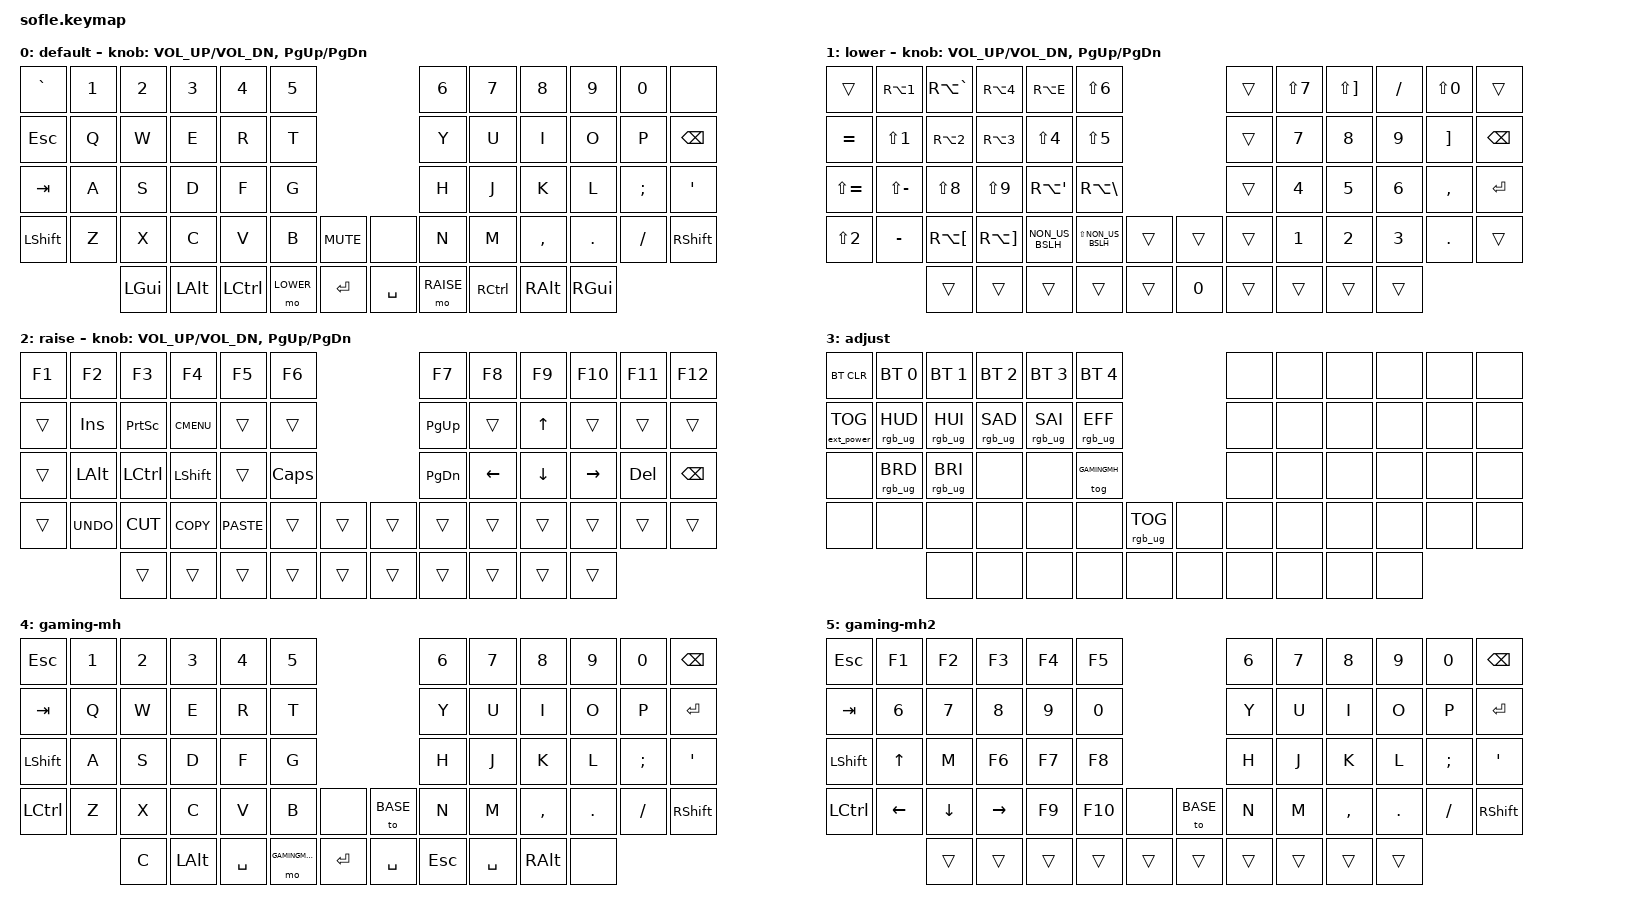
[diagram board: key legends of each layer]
/*
 * Copyright (c) 2020 The ZMK Contributors
 *
 * SPDX-License-Identifier: MIT
 */

#include <dt-bindings/led/led.h>
#include <behaviors.dtsi>
#include <dt-bindings/zmk/keys.h>
#include <dt-bindings/zmk/bt.h>
#include <dt-bindings/zmk/rgb.h>
#include <dt-bindings/zmk/ext_power.h>

#define BASE 0
#define LOWER 1
#define RAISE 2
#define ADJUST 3
#define GAMINGMH 4
#define GAMINGMHW 5

/ {
   // Activate ADJUST layer by pressing raise and lower
    conditional_layers {
        compatible = "zmk,conditional-layers";
        adjust_layer {
            if-layers = <LOWER RAISE>;
            then-layer = <ADJUST>;
        };
    };

    keymap {
        compatible = "zmk,keymap";

        default_layer {
            display-name = "default";
// ------------------------------------------------------------------------------------------------------------
// |   `   |  1  |  2  |  3   |  4   |  5   |                   |  6   |  7    |  8    |  9   |   0   |       |
// |  ESC  |  Q  |  W  |  E   |  R   |  T   |                   |  Y   |  U    |  I    |  O   |   P   | BKSPC |
// |  TAB  |  A  |  S  |  D   |  F   |  G   |                   |  H   |  J    |  K    |  L   |   ;   |   '   |
// | SHIFT |  Z  |  X  |  C   |  V   |  B   |  MUTE  |  |       |  N   |  M    |  ,    |  .   |   /   | SHIFT |
//               | GUI | ALT  | CTRL | LOWER|  ENTER |  | SPACE | RAISE| CTRL  | ALT   | GUI  |
            bindings = <
&kp GRAVE &kp N1 &kp N2   &kp N3   &kp N4    &kp N5                           &kp N6 &kp N7    &kp N8    &kp N9   &kp N0   &none
&kp ESC   &kp Q  &kp W    &kp E    &kp R     &kp T                            &kp Y  &kp U     &kp I     &kp O    &kp P    &kp BSPC
&kp TAB   &kp A  &kp S    &kp D    &kp F     &kp G                            &kp H  &kp J     &kp K     &kp L    &kp SEMI &kp SQT
&kp LSHFT &kp Z  &kp X    &kp C    &kp V     &kp B      &kp C_MUTE &none      &kp N  &kp M     &kp COMMA &kp DOT  &kp FSLH &kp RSHFT
                 &kp LGUI &kp LALT &kp LCTRL &mo LOWER  &kp RET    &kp SPACE  &mo RAISE  &kp RCTRL &kp RALT  &kp RGUI
            >;

            sensor-bindings = <&inc_dec_kp C_VOL_UP C_VOL_DN &inc_dec_kp PG_UP PG_DN>;
        };

        lower_layer {
            display-name = "lower";
// Pensada para el teclado ESPAÑOL del PC. Izquierda: símbolos. Derecha: teclado numérico (0 en el pulgar).
// ------------------------------------------------------------------------------------------------------------
// |   º   |  |  |  \  |  ~   |  €   |  &   |                   |      |  /    |  *    |  -   |   =   |       |
// |   ¡   |  !  |  @  |  #   |  $   |  %   |                   |      |  7    |  8    |  9   |   +   |  ⌫    |
// |   ¿   |  ?  |  (  |  )   |  {   |  }   |                   |      |  4    |  5    |  6   |   ,   | ENTER |
// |   "   |  '  |  [  |  ]   |  <   |  >   |        |  |       |      |  1    |  2    |  3   |   .   |       |
//               |     |      |      |      |        |  |   0   |      |       |       |      |
            bindings = <
&trans       &kp RA(N1)    &kp RA(GRAVE) &kp RA(N4)   &kp RA(E)       &kp LS(N6)                                &trans &kp LS(N7) &kp LS(RBKT) &kp FSLH &kp LS(N0) &trans
&kp EQUAL    &kp LS(N1)    &kp RA(N2)    &kp RA(N3)   &kp LS(N4)      &kp LS(N5)                                &trans &kp N7     &kp N8       &kp N9   &kp RBKT   &kp BSPC
&kp LS(EQUAL) &kp LS(MINUS) &kp LS(N8)   &kp LS(N9)   &kp RA(SQT)     &kp RA(BSLH)                              &trans &kp N4     &kp N5       &kp N6   &kp COMMA  &kp RET
&kp LS(N2)   &kp MINUS     &kp RA(LBKT)  &kp RA(RBKT) &kp NON_US_BSLH &kp LS(NON_US_BSLH) &trans    &trans       &trans &kp N1     &kp N2       &kp N3   &kp DOT    &trans
                           &trans        &trans       &trans          &trans              &trans    &kp N0       &trans &trans     &trans       &trans
            >;

            sensor-bindings = <&inc_dec_kp C_VOL_UP C_VOL_DN &inc_dec_kp PG_UP PG_DN>;
        };

        raise_layer {
            display-name = "raise";
// ------------------------------------------------------------------------------------------------------------
// |  F1   |  F2  |  F3  |  F4   |  F5   |  F6  |                |  F7  |  F8  |  F9   | F10  |  F11  |  F12  |
// |       | INS  | PSCR | GUI   |       |      |                | PGUP |      |   ^   |      |       |       |
// |       | ALT  | CTRL | SHIFT |       | CAPS |                | PGDN |   <- |   v   |  ->  |  DEL  | BKSPC |
// |       | UNDO | CUT  | COPY  | PASTE |      |      |  |      |      |      |       |      |       |       |
//                |      |       |       |      |      |  |      |      |      |       |      |
            bindings = <
&kp F1     &kp F2       &kp F3       &kp F4       &kp F5       &kp F6                        &kp F7    &kp F8    &kp F9   &kp F10   &kp F11 &kp F12
&trans     &kp INS      &kp PSCRN    &kp K_CMENU  &trans       &trans                        &kp PG_UP &trans    &kp UP   &trans    &trans  &trans
&trans     &kp LALT     &kp LCTRL    &kp LSHFT    &trans       &kp CLCK                      &kp PG_DN &kp LEFT  &kp DOWN &kp RIGHT &kp DEL &kp BSPC
&trans     &kp K_UNDO   &kp K_CUT    &kp K_COPY   &kp K_PASTE  &trans        &trans  &trans  &trans    &trans    &trans   &trans    &trans  &trans
                        &trans       &trans       &trans       &trans        &trans  &trans  &trans    &trans    &trans   &trans
            >;

            sensor-bindings = <&inc_dec_kp C_VOL_UP C_VOL_DN &inc_dec_kp PG_UP PG_DN>;
        };

        adjust_layer {
// ----------------------------------------------------------------------------------------------------------------------------
// | BTCLR  |  BT1    |  BT2    |   BT3   |   BT4   |   BT5   |                  |      |      |       |      |       |       |
// | EXTPWR | RGB_HUD | RGB_HUI | RGB_SAD | RGB_SAI | RGB_EFF |                  |      |      |       |      |       |       |
// |        | RGB_BRD | RGB_BRI |         |         |         |                  |      |      |       |      |       |       |
// |        |         |         |         |         |         | RGB_TOG | |      |      |      |       |      |       |       |
//                    |         |         |         |         |         | |      |      |      |       |      |
            display-name = "adjust";
            bindings = <
&bt BT_CLR        &bt BT_SEL 0    &bt BT_SEL 1    &bt BT_SEL 2    &bt BT_SEL 3    &bt BT_SEL 4                            &none &none &none &none &none &none
&ext_power EP_TOG &rgb_ug RGB_HUD &rgb_ug RGB_HUI &rgb_ug RGB_SAD &rgb_ug RGB_SAI &rgb_ug RGB_EFF                         &none &none &none &none &none &none
&none             &rgb_ug RGB_BRD &rgb_ug RGB_BRI &none           &none           &tog GAMINGMH                                   &none &none &none &none &none &none
&none             &none           &none           &none           &none           &none            &rgb_ug RGB_TOG &none  &none &none &none &none &none &none
                                  &none           &none           &none           &none            &none           &none  &none &none &none &none
            >;
        };

        gamingmh_layer {
            display-name = "gaming-mh";
// ------------------------------------------------------------------------------------------------------------
// | ESC |  1  |  2  |  3  |  4  |  5  |                   |  6  |  7  |  8  |  9  |  0  | BSPC |
// | TAB |  Q  |  W  |  E  |  R  |  T  |                   |  Y  |  U  |  I  |  O  |  P  | ENTER |
// |SHIFT|  A  |  S  |  D  |  F  |  G  |                   |  H  |  J  |  K  |  L  |  ;  |  '    |
// |CTRL |  Z  |  X  |  C  |  V  |  B  |       |  |  BASE  |  N  |  M  |  ,  |  .  |  /  | SHIFT |
//                |  C  | ALT | SPACE | MH2 | ENTER | SPACE | ESC | SPACE | ALT |     |
    bindings = <
&kp ESC   &kp N1 &kp N2 &kp N3 &kp N4 &kp N5                    &kp N6 &kp N7 &kp N8 &kp N9 &kp N0 &kp BSPC
&kp TAB   &kp Q  &kp W  &kp E  &kp R  &kp T                     &kp Y  &kp U  &kp I  &kp O  &kp P  &kp RET
&kp LSHFT &kp A  &kp S  &kp D  &kp F  &kp G                     &kp H  &kp J  &kp K  &kp L  &kp SEMI &kp SQT
&kp LCTRL &kp Z  &kp X  &kp C  &kp V  &kp B  &none &to BASE    &kp N  &kp M  &kp COMMA &kp DOT &kp FSLH &kp RSHFT
               &kp C &kp LALT &kp SPACE &mo GAMINGMHW &kp RET &kp SPACE &kp ESC &kp SPACE &kp RALT &none
    >;
        };
      gamingmhw_layer {
            display-name = "gaming-mh2";
// Mantén MH2: mano izquierda con F1-F10, números 6-0, flechas y mapa (M)
// ------------------------------------------------------------------------------------------------------------
// | ESC |  F1 |  F2 |  F3 |  F4 |  F5 |                   |  6  |  7  |  8  |  9  |  0  | BSPC |
// | TAB |  6  |  7  |  8  |  9  |  0  |                   |  Y  |  U  |  I  |  O  |  P  | ENTER |
// |SHIFT|  ↑  |  M  |  F6 |  F7 |  F8 |                   |  H  |  J  |  K  |  L  |  ;  |  '    |
// |CTRL |  ←  |  ↓  |  →  |  F9 | F10 |       |  |  BASE  |  N  |  M  |  ,  |  .  |  /  | SHIFT |
//                |  C  | ALT | SPACE | MH2 | ENTER | SPACE | ESC | SPACE | ALT |     |
    bindings = <
&kp ESC   &kp F1   &kp F2   &kp F3    &kp F4 &kp F5                     &kp N6 &kp N7 &kp N8 &kp N9 &kp N0 &kp BSPC
&kp TAB   &kp N6   &kp N7   &kp N8    &kp N9 &kp N0                     &kp Y  &kp U  &kp I  &kp O  &kp P  &kp RET
&kp LSHFT &kp UP   &kp M    &kp F6    &kp F7 &kp F8                     &kp H  &kp J  &kp K  &kp L  &kp SEMI &kp SQT
&kp LCTRL &kp LEFT &kp DOWN &kp RIGHT &kp F9 &kp F10 &none &to BASE     &kp N  &kp M  &kp COMMA &kp DOT &kp FSLH &kp RSHFT
               &trans &trans &trans &trans &trans &trans &trans &trans &trans &trans
    >;

    };
};
};

